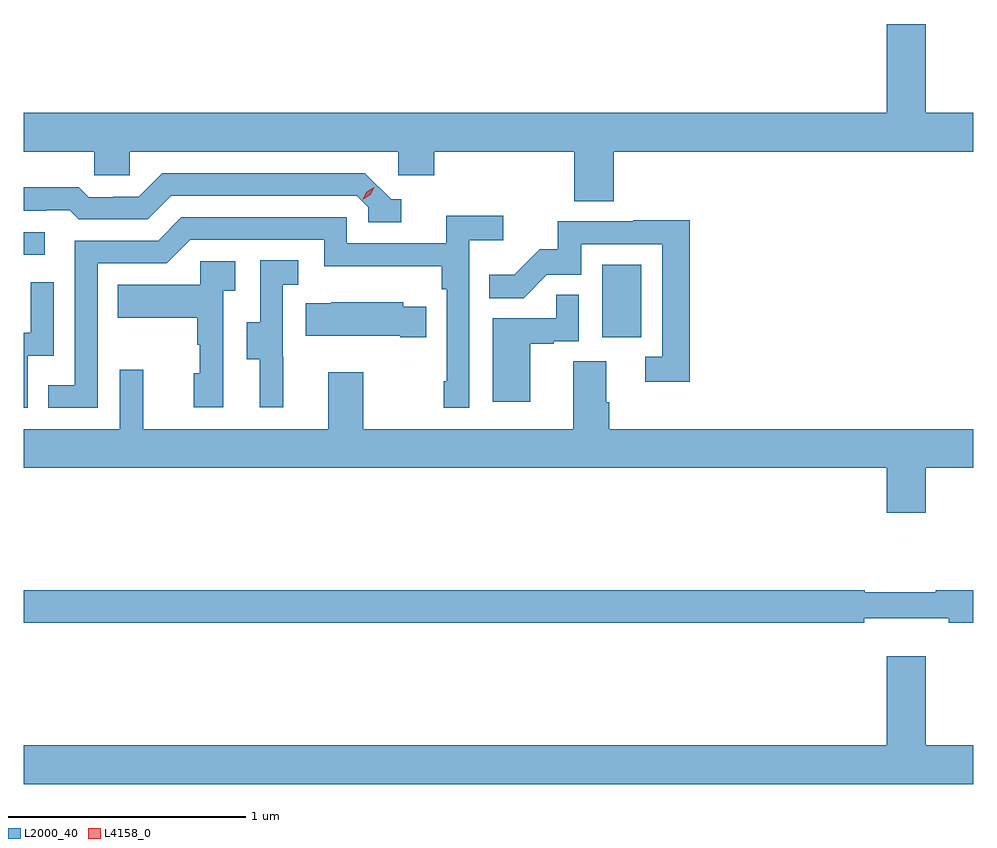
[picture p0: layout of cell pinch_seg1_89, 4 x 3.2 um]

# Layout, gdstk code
import gdstk
lib = gdstk.Library(unit=1e-6, precision=1e-09)
def R(c, l, rs):  # rectangles x0, y0, x1, y1
    for r in rs: c.add(gdstk.rectangle(r[:2], r[2:], *l))
def P(c, l, *ps):  # polygons
    for p in ps: c.add(gdstk.Polygon(p, *l))
L2000_40 = (2000, 40)
L4158_0 = (4158, 0)

pinch_seg1_89 = lib.new_cell('pinch_seg1_89')
R(pinch_seg1_89, L2000_40, [(1050.92,561.606,1051.084,561.913), (1048.483,561.954,1048.57,562.05)])
P(pinch_seg1_89, L2000_40, [(1050.968,562.388),(1052.483,562.388),(1052.483,562.552),(1052.284,562.552),(1052.284,562.927),(1052.12,562.927),(1052.12,562.552),(1048.483,562.552),(1048.483,562.388),(1048.779,562.388),(1048.779,562.29),(1048.929,562.29),(1048.929,562.388),(1050.06,562.388),(1050.06,562.29),(1050.212,562.29),(1050.212,562.388),(1050.803,562.388),(1050.803,562.18),(1050.968,562.18)],
  [(1050.073,562.188),(1050.03,562.188),(1049.919,562.299),(1049.066,562.299),(1048.967,562.2),(1048.86,562.2),(1048.86,562.197),(1048.757,562.197),(1048.715,562.24),(1048.483,562.24),(1048.483,562.14),(1048.577,562.14),(1048.577,562.143),(1048.676,562.143),(1048.715,562.104),(1049.004,562.104),(1049.103,562.203),(1049.886,562.203),(1049.934,562.155),(1049.934,562.092),(1050.073,562.092)],
  [(1048.794,561.918),(1049.085,561.918),(1049.184,562.017),(1049.748,562.017),(1049.748,561.905),(1050.244,561.905),(1050.244,561.809),(1050.264,561.809),(1050.264,561.421),(1050.252,561.421),(1050.252,561.309),(1050.36,561.309),(1050.36,562.016),(1050.502,562.016),(1050.502,562.118),(1050.263,562.118),(1050.263,562.002),(1049.844,562.002),(1049.844,562.113),(1049.147,562.113),(1049.048,562.014),(1048.698,562.014),(1048.698,561.405),(1048.585,561.405),(1048.585,561.309),(1048.794,561.309)],
  [(1051.289,562.1),(1051.051,562.1),(1051.051,562.095),(1050.733,562.095),(1050.733,561.978),(1050.656,561.978),(1050.549,561.871),(1050.445,561.871),(1050.445,561.772),(1050.589,561.772),(1050.687,561.87),(1050.831,561.87),(1050.831,561.999),(1051.173,561.999),(1051.173,561.525),(1051.101,561.525),(1051.101,561.42),(1051.289,561.42)],
  [(1049.576,561.525),(1049.574,561.525),(1049.574,561.829),(1049.638,561.829),(1049.638,561.932),(1049.478,561.932),(1049.478,561.669),(1049.423,561.669),(1049.423,561.514),(1049.477,561.514),(1049.477,561.312),(1049.576,561.312)],
  [(1049.322,561.803),(1049.374,561.803),(1049.374,561.927),(1049.226,561.927),(1049.226,561.829),(1048.879,561.829),(1048.879,561.689),(1049.214,561.689),(1049.214,561.575),(1049.224,561.575),(1049.224,561.456),(1049.198,561.456),(1049.198,561.312),(1049.322,561.312)],
  [(1048.5,561.528),(1048.608,561.528),(1048.608,561.838),(1048.512,561.838),(1048.512,561.626),(1048.483,561.626),(1048.483,561.309),(1048.5,561.309)],
  [(1050.616,561.579),(1050.716,561.579),(1050.716,561.591),(1050.822,561.591),(1050.822,561.785),(1050.727,561.785),(1050.727,561.687),(1050.458,561.687),(1050.458,561.336),(1050.616,561.336)],
  [(1050.179,561.736),(1050.081,561.736),(1050.081,561.754),(1049.779,561.754),(1049.779,561.751),(1049.671,561.751),(1049.671,561.614),(1050.068,561.614),(1050.068,561.607),(1050.179,561.607)],
  [(1052.284,561.056),(1052.483,561.056),(1052.483,561.22),(1050.95,561.22),(1050.95,561.332),(1050.937,561.332),(1050.937,561.506),(1050.797,561.506),(1050.797,561.22),(1049.913,561.22),(1049.913,561.46),(1049.765,561.46),(1049.765,561.22),(1048.985,561.22),(1048.985,561.469),(1048.887,561.469),(1048.887,561.22),(1048.483,561.22),(1048.483,561.056),(1052.12,561.056),(1052.12,560.868),(1052.284,560.868)],
  [(1052.024,560.423),(1052.38,560.423),(1052.38,560.404),(1052.483,560.404),(1052.483,560.54),(1052.326,560.54),(1052.326,560.533),(1052.026,560.533),(1052.026,560.54),(1048.483,560.54),(1048.483,560.404),(1052.024,560.404)],
  [(1052.483,559.888),(1052.284,559.888),(1052.284,560.263),(1052.12,560.263),(1052.12,559.888),(1048.483,559.888),(1048.483,559.724),(1052.483,559.724)])
P(pinch_seg1_89, L4158_0, [(1049.911,562.188),(1049.911,562.188),(1049.928,562.22),(1049.959,562.24),(1049.959,562.24),(1049.959,562.239),(1049.942,562.207),(1049.912,562.188)])

lib.write_gds('pinch_seg1_89.gds')
